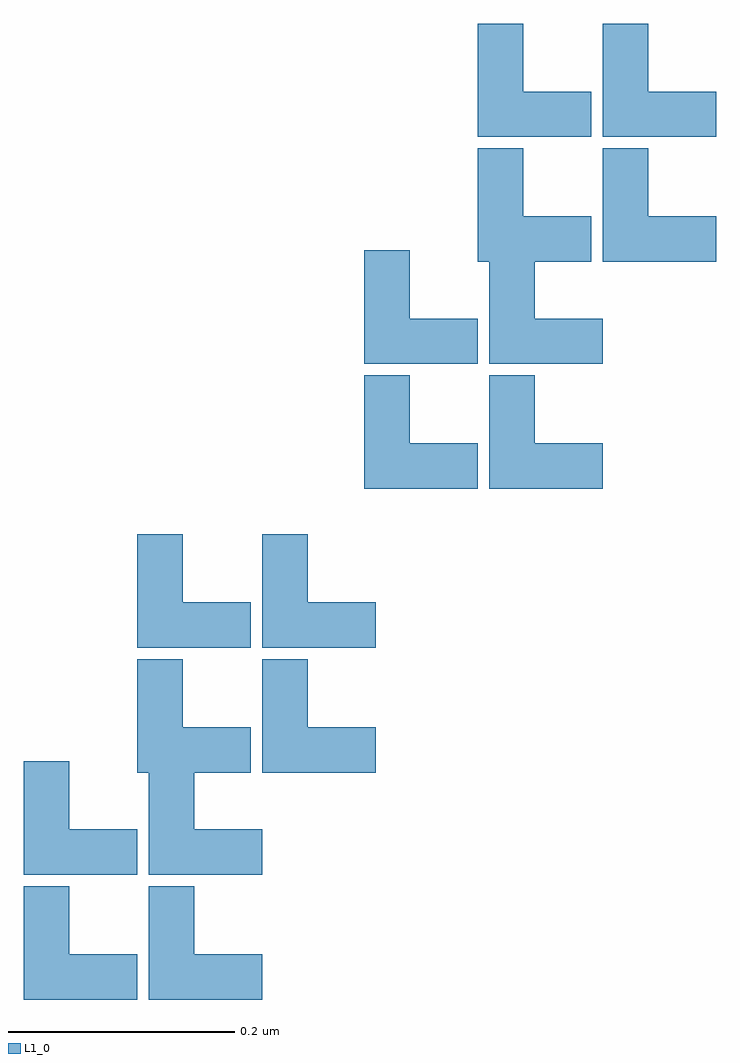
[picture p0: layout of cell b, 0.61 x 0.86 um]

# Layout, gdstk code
import gdstk
lib = gdstk.Library(unit=1e-6, precision=1e-09)
def P(c, l, *ps):  # polygons
    for p in ps: c.add(gdstk.Polygon(p, *l))
L1_0 = (1, 0)

c_r = lib.new_cell('r')
P(c_r, L1_0, [(0,0),(0,0.1),(0.04,0.1),(0.04,0.04),(0.1,0.04),(0.1,0)])

c_a = lib.new_cell('a')
r = gdstk.Reference(c_r, (0,0)); r.repetition = gdstk.Repetition(2, 2, v1=(0.11,0), v2=(0,0.11)); c_a.add(r)

c_b = lib.new_cell('b')
r = gdstk.Reference(c_a, (-0.099,-0.004)); r.repetition = gdstk.Repetition(2, 2, v1=(0.3,0.45), v2=(0.1,0.2)); c_b.add(r)

lib.write_gds('b.gds')
